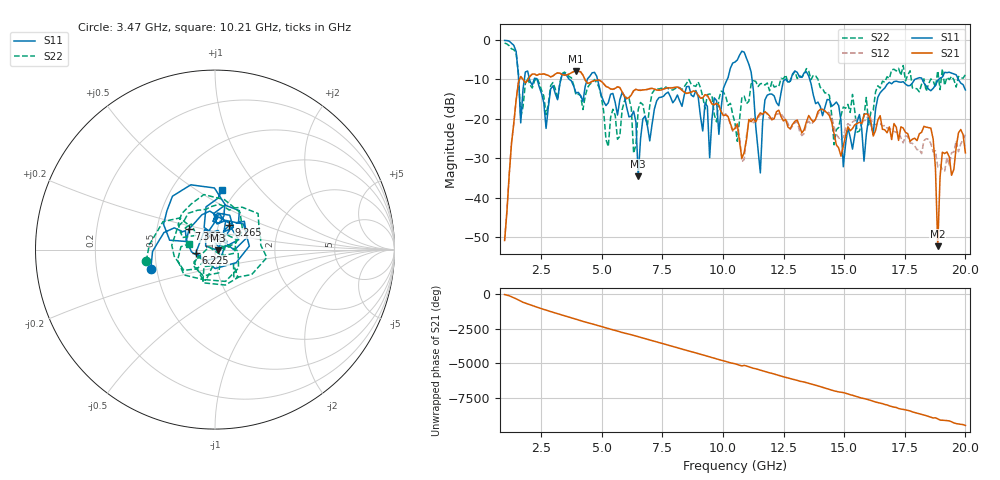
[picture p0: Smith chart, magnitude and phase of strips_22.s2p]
!Agilent Technologies,N5230A,MY45001629,A.07.50.67
!Agilent N5230A: A.07.50.67
!Date: Monday, June 05, 2017 16:34:45
!Correction: S11(Full 2 Port(1,2))
!S21(Full 2 Port(1,2))
!S12(Full 2 Port(1,2))
!S22(Full 2 Port(1,2))
!S2P File: Measurements: S11, S21, S12, S22:
# Hz S  dB  R 50
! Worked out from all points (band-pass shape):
!   201 points, 1 GHz to 20 GHz, reference 50 ohm
!   highest |S21| = -7.91 dB at 3.945 GHz (marker M1); lowest = -52.2 dB at 18.86 GHz (marker M2)
!   |S21| within 3 dB of the highest: 1.567 GHz to 4.404 GHz (2.837 GHz wide, 95 % of centre); 4.522 GHz to 5.044 GHz (521.6 MHz wide, 10.9 % of centre)
!   lowest |S11| = -34.5 dB at 6.51 GHz (marker M3), VSWR 1.04, Z = 51.8 - j0.511 ohm
!   |S11| at or under -10 dB: 4.828 GHz to 10.18 GHz (5.356 GHz wide, 71.4 % of centre); 11.2 GHz to 12.8 GHz (1.604 GHz wide, 13.4 % of centre); 13.58 GHz to 17.94 GHz (4.363 GHz wide, 27.7 % of centre)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
!   |S22| runs from -28.7 to -0.9 dB; largest |S21 - S12| = 0.031
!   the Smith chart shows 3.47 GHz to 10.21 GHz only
!   S11 on the Smith chart (normalised r, x): 3.47 GHz: 0.46, -0.11; 6.225 GHz: 0.81, -0.03; 7.365 GHz: 0.73, +0.17; 9.265 GHz: 1.13, +0.32; 10.21 GHz: 0.86, +0.64
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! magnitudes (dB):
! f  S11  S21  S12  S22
! 1 GHz  -0.2  -50.8  -50.8  -0.9
! 1.57 GHz  -9.0  -10.8  -10.7  -8.6
! 3.47 GHz  -8.6  -9.0  -9.0  -8.2
! 3.945 GHz  -13.5  -7.9  -7.9  -14.1
! 4.23 GHz  -15.6  -9.0  -9.0  -17.7
! 6.225 GHz  -19.4  -14.0  -13.9  -17.3
! 6.51 GHz  -34.5  -12.8  -12.8  -17.6
! 7.365 GHz  -14.7  -12.8  -12.8  -12.5
! 9.265 GHz  -16.0  -13.9  -14.0  -17.6
! 9.455 GHz  -29.9  -15.2  -15.1  -13.7
! 10.21 GHz  -9.6  -19.5  -19.5  -16.6
! 10.5 GHz  -5.7  -22.4  -22.5  -21.1
! 11.16 GHz  -8.2  -20.8  -19.9  -11.2
! 11.54 GHz  -33.7  -18.5  -19.0  -11.2
! 11.83 GHz  -14.1  -18.7  -18.9  -11.0
! 13.73 GHz  -14.0  -20.8  -20.8  -9.0
! 14.96 GHz  -32.2  -26.9  -24.6  -17.1
! 16.86 GHz  -10.8  -22.1  -22.4  -9.8
! 18.57 GHz  -12.9  -22.4  -26.3  -10.0
! 18.86 GHz  -10.3  -52.2  -32.2  -7.9
! 19.05 GHz  -9.5  -28.5  -32.9  -7.4
! 20 GHz  -12.7  -28.6  -24.1  -8.9
